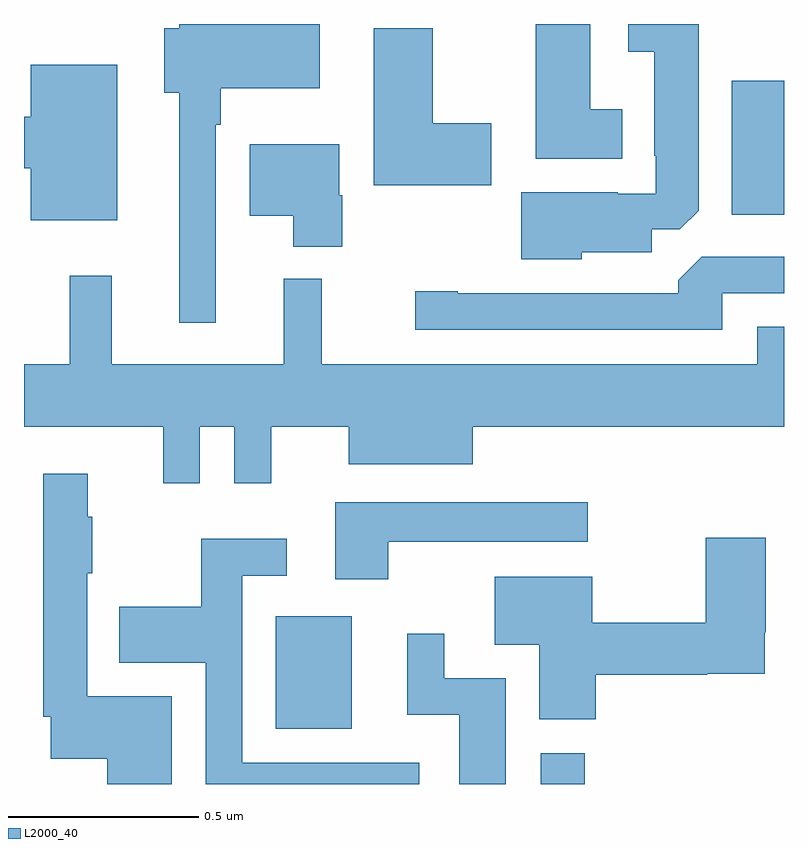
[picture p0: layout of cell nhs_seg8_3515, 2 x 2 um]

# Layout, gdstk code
import gdstk
lib = gdstk.Library(unit=1e-6, precision=1e-09)
def R(c, l, rs):  # rectangles x0, y0, x1, y1
    for r in rs: c.add(gdstk.rectangle(r[:2], r[2:], *l))
def P(c, l, *ps):  # polygons
    for p in ps: c.add(gdstk.Polygon(p, *l))
L2000_40 = (2000, 40)

nhs_seg8_3515 = lib.new_cell('nhs_seg8_3515')
R(nhs_seg8_3515, L2000_40, [(159.36,1108.9,159.476,1108.981), (158.663,1109.045,158.863,1109.341), (159.863,1110.398,160,1110.751)])
P(nhs_seg8_3515, L2000_40, [(159.574,1110.676),(159.49,1110.676),(159.49,1110.9),(159.347,1110.9),(159.347,1110.545),(159.574,1110.545)],
  [(158.505,1110.635),(158.518,1110.635),(158.518,1110.731),(158.778,1110.731),(158.778,1110.9),(158.408,1110.9),(158.408,1110.889),(158.369,1110.889),(158.369,1110.719),(158.408,1110.719),(158.408,1110.114),(158.505,1110.114)],
  [(159.468,1110.299),(159.652,1110.299),(159.652,1110.36),(159.726,1110.36),(159.775,1110.409),(159.775,1110.9),(159.59,1110.9),(159.59,1110.827),(159.659,1110.827),(159.659,1110.553),(159.663,1110.553),(159.663,1110.453),(159.563,1110.453),(159.563,1110.457),(159.308,1110.457),(159.308,1110.281),(159.468,1110.281)],
  [(159.229,1110.639),(159.076,1110.639),(159.076,1110.889),(158.921,1110.889),(158.921,1110.476),(159.229,1110.476)],
  [(158.245,1110.793),(158.018,1110.793),(158.018,1110.656),(158,1110.656),(158,1110.52),(158.018,1110.52),(158.018,1110.383),(158.245,1110.383)],
  [(158.838,1110.45),(158.83,1110.45),(158.83,1110.583),(158.594,1110.583),(158.594,1110.395),(158.708,1110.395),(158.708,1110.314),(158.838,1110.314)],
  [(159.837,1110.192),(160,1110.192),(160,1110.288),(159.783,1110.288),(159.722,1110.226),(159.722,1110.192),(159.142,1110.192),(159.142,1110.197),(159.03,1110.197),(159.03,1110.096),(159.837,1110.096)],
  [(158.463,1109.84),(158.553,1109.84),(158.553,1109.691),(158.651,1109.691),(158.651,1109.84),(158.855,1109.84),(158.855,1109.741),(159.181,1109.741),(159.181,1109.84),(160,1109.84),(160,1110.103),(159.929,1110.103),(159.929,1110.004),(158.784,1110.004),(158.784,1110.229),(158.684,1110.229),(158.684,1110.004),(158.231,1110.004),(158.231,1110.238),(158.121,1110.238),(158.121,1110.004),(158,1110.004),(158,1109.84),(158.366,1109.84),(158.366,1109.691),(158.463,1109.691)],
  [(158.389,1109.131),(158.166,1109.131),(158.166,1109.455),(158.179,1109.455),(158.179,1109.603),(158.168,1109.603),(158.168,1109.716),(158.05,1109.716),(158.05,1109.077),(158.07,1109.077),(158.07,1108.966),(158.219,1108.966),(158.219,1108.9),(158.389,1108.9)],
  [(158.959,1109.537),(159.484,1109.537),(159.484,1109.641),(158.819,1109.641),(158.819,1109.439),(158.959,1109.439)],
  [(159.504,1109.188),(159.798,1109.188),(159.798,1109.19),(159.949,1109.19),(159.949,1109.299),(159.952,1109.299),(159.952,1109.548),(159.794,1109.548),(159.794,1109.324),(159.496,1109.324),(159.496,1109.446),(159.239,1109.446),(159.239,1109.267),(159.356,1109.267),(159.356,1109.07),(159.504,1109.07)],
  [(159.04,1108.956),(158.574,1108.956),(158.574,1109.448),(158.692,1109.448),(158.692,1109.545),(158.466,1109.545),(158.466,1109.367),(158.251,1109.367),(158.251,1109.219),(158.478,1109.219),(158.478,1108.9),(159.04,1108.9)],
  [(159.268,1109.178),(159.106,1109.178),(159.106,1109.296),(159.008,1109.296),(159.008,1109.082),(159.146,1109.082),(159.146,1108.9),(159.268,1108.9)])

lib.write_gds('nhs_seg8_3515.gds')
